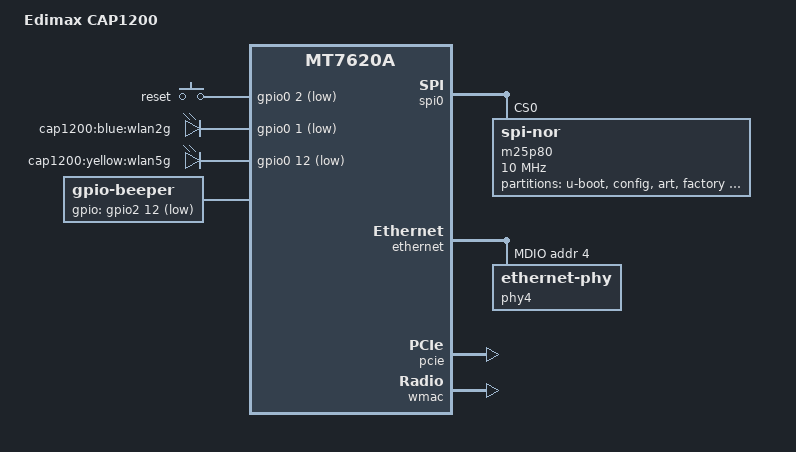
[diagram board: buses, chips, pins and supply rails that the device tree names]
/*
 *  BSD LICENSE
 *
 *  Copyright (C) 2018 Jeff Williams <jeff@wdwconsulting.net>
 *  All rights reserved.
 *
 *  Redistribution and use in source and binary forms, with or without
 *  modification, are permitted provided that the following conditions
 *  are met:
 *
 *    1. Redistributions of source code must retain the above copyright
 *       notice, this list of conditions and the following disclaimer.
 *    2. Redistributions in binary form must reproduce the above copyright
 *       notice, this list of conditions and the following disclaimer in the
 *       documentation and/or other materials provided with the distribution.
 *    3. Neither the names of the copyright holders nor the names of any
 *       contributors may be used to endorse or promote products derived
 *       from this software without specific prior written permission.
 *
 *  THIS SOFTWARE IS PROVIDED BY THE COPYRIGHT HOLDERS AND CONTRIBUTORS
 *  "AS IS" AND ANY EXPRESS OR IMPLIED WARRANTIES, INCLUDING, BUT NOT
 *  LIMITED TO, THE IMPLIED WARRANTIES OF MERCHANTABILITY AND FITNESS FOR
 *  A PARTICULAR PURPOSE ARE DISCLAIMED. IN NO EVENT SHALL THE COPYRIGHT
 *  HOLDER OR CONTRIBUTORS BE LIABLE FOR ANY DIRECT, INDIRECT, INCIDENTAL,
 *  SPECIAL, EXEMPLARY, OR CONSEQUENTIAL DAMAGES (INCLUDING, BUT NOT
 *  LIMITED TO, PROCUREMENT OF SUBSTITUTE GOODS OR SERVICES; LOSS OF USE,
 *  DATA, OR PROFITS; OR BUSINESS INTERRUPTION) HOWEVER CAUSED AND ON ANY
 *  THEORY OF LIABILITY, WHETHER IN CONTRACT, STRICT LIABILITY, OR TORT
 *  (INCLUDING NEGLIGENCE OR OTHERWISE) ARISING IN ANY WAY OUT OF THE USE
 *  OF THIS SOFTWARE, EVEN IF ADVISED OF THE POSSIBILITY OF SUCH DAMAGE.
 */

/dts-v1/;

#include "mt7620a.dtsi"

#include <dt-bindings/gpio/gpio.h>
#include <dt-bindings/input/input.h>

/ {
	compatible = "edimax,cap1200-8m", "ralink,mt7620a-soc";
	model = "Edimax CAP1200";

	chosen {
		bootargs = "console=ttyS0,57600";
	};

	gpio-keys {
		compatible = "gpio-keys";
		#address-cells = <1>;
		#size-cells = <0>;
		poll-interval = <20>;

		reset {
			label = "reset";
			gpios = <&gpio0 2 GPIO_ACTIVE_LOW>;
			linux,code = <KEY_RESTART>;
		};
	};

	gpio-leds {
		compatible = "gpio-leds";

		wlan2g {
			label = "cap1200:blue:wlan2g";
			gpios = <&gpio0 1 GPIO_ACTIVE_LOW>;
		};

		wlan5g {
			label = "cap1200:yellow:wlan5g";
			gpios = <&gpio0 12 GPIO_ACTIVE_LOW>;
		};
	};

	beeper: beeper {
		compatible = "gpio-beeper";
		gpios = <&gpio2 12 GPIO_ACTIVE_LOW>;
	};
};

&spi0 {
	status = "okay";

	m25p80@0 {
		#address-cells = <1>;
		#size-cells = <1>;
		compatible = "jedec,spi-nor";
		reg = <0>;
		spi-max-frequency = <10000000>;

		partition@0 {
			label = "u-boot";
			reg = <0x0 0x30000>;
			read-only;
		};

		config: partition@30000 {
			label = "config";
			reg = <0x30000 0x10000>;
			read-only;
		};

		art: partition@48000 {
			label = "art";
			reg = <0x48000 0x8000>;
			read-only;
		};

		factory: partition@40000 {
			label = "factory";
			reg = <0x40000 0x10000>;
			read-only;
		};

		partition@50000 {
			label = "firmware";
			reg = <0x50000 0x6ca000>;
		};

		partition@71a000 {
			label = "manufacture";
			reg = <0x71a000 0x96000>;
		};

		partition@7b0000 {
			label = "backup";
			reg = <0x7b0000 0x10000>;
		};

		partition@7c0000 {
			label = "storage";
			reg = <0x7c0000 0x40000>;
		};
	};
};

&pinctrl {
	state_default: pinctrl0 {
		gpio {
			ralink,group = "i2c", "nd_sd", "uartf";
			ralink,function = "gpio";
		};
	};
};

&ethernet {
	status = "okay";
	mtd-mac-address = <&factory 0x4>;
	mtd-mac-address-increment = <1>;
	pinctrl-names = "default";
	pinctrl-0 = <&rgmii1_pins &mdio_pins>;

	port@4 {
		status = "okay";
		phy-mode = "rgmii";
		phy-handle = <&phy4>;
	};

	mdio-bus {
		status = "okay";
		phy4: ethernet-phy@4 {
			reg = <4>;
			phy-mode = "rgmii";
		};
	};
};

&gsw {
	mediatek,port4 = "gmac";
	mtd-mac-address = <&config 0x29>;
};

&pcie {
	status = "okay";
};

&wmac {
	status = "okay";
};
